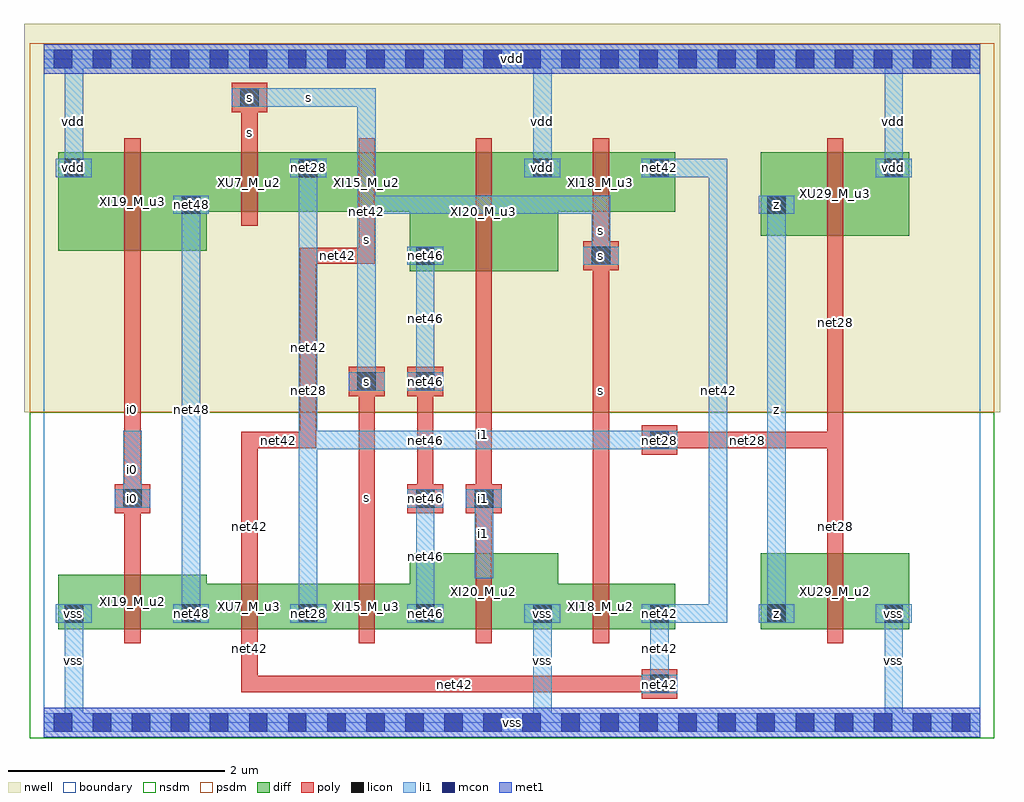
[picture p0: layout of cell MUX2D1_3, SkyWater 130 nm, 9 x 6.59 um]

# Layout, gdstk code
import gdstk
lib = gdstk.Library(unit=1e-6, precision=1e-09)
def R(c, l, rs):  # rectangles x0, y0, x1, y1
    for r in rs: c.add(gdstk.rectangle(r[:2], r[2:], *l))
def A(c, l, x, y, w, h, nx, ny, dx, dy):  # array of equal rectangles
    R(c, l, [(x+i*dx, y+j*dy, x+i*dx+w, y+j*dy+h) for i in range(nx) for j in range(ny)])
L0_0 = (0, 0)
nwell = (64, 20)
diff = (65, 20)
poly = (66, 20)
licon = (66, 44)
li1 = (67, 20)
mcon = (67, 44)
met1 = (68, 20)
nsdm = (93, 44)
psdm = (94, 20)
boundary = (235, 4)

mux2d1_3 = lib.new_cell('MUX2D1_3')
R(mux2d1_3, nwell, [(-0.18,2.86,8.82,6.445)])
A(mux2d1_3, diff, 0.135, 0.86, 0.29, 0.29, 8, 1, 1.08, 0)
A(mux2d1_3, diff, 0.135, 4.97, 0.29, 0.29, 3, 1, 2.16, 0)
R(mux2d1_3, diff, [(0.135,0.86,1.505,1.365), (1.215,0.86,2.585,1.28), (2.295,0.86,3.665,1.28), (3.375,0.86,4.745,1.56), (4.455,0.86,5.825,1.28), (6.615,0.86,7.985,1.56), (3.375,4.16,4.745,5.26), (3.375,4.16,3.665,4.45), (0.135,4.35,1.505,5.26), (6.615,4.49,7.985,5.26), (1.215,4.63,1.505,4.92), (6.615,4.63,6.905,4.92), (1.215,4.71,2.585,5.26), (2.295,4.71,3.665,5.26), (4.455,4.71,5.825,5.26), (5.535,4.97,5.825,5.26), (7.695,4.97,7.985,5.26)])
R(mux2d1_3, poly, [(5.515,0.22,5.845,0.49), (1.825,0.28,1.975,1.08), (1.825,0.28,5.755,0.43), (0.745,0.73,0.895,1.495), (1.825,0.73,1.975,1.41), (2.905,0.73,3.055,1.41), (3.985,0.73,4.135,1.69), (5.065,0.73,5.215,1.41), (7.225,0.73,7.375,1.69), (0.745,0.93,0.895,4.85), (1.825,0.93,1.975,2.68), (2.905,0.93,3.055,3.22), (3.985,0.93,4.135,4.38), (5.065,0.93,5.215,5.19), (7.225,0.93,7.375,2.68), (0.655,1.93,0.985,2.2), (3.355,1.93,3.685,2.2), (3.895,1.93,4.225,2.2), (3.445,1.99,3.595,3.22), (5.515,2.47,5.845,2.74), (1.825,2.53,2.515,2.68), (2.365,2.53,2.515,4.38), (5.605,2.53,7.375,2.68), (7.225,2.53,7.375,4.85), (2.815,3.01,3.145,3.28), (3.355,3.01,3.685,3.28), (3.985,4.03,4.135,5.39), (4.975,4.17,5.305,4.44), (0.745,4.22,0.895,5.39), (2.365,4.23,3.055,4.38), (2.905,4.23,3.055,5.19), (7.225,4.36,7.375,5.39), (1.825,4.58,1.975,5.39), (2.905,4.58,3.055,5.39), (5.065,4.58,5.215,5.39), (1.825,5.04,1.975,5.84), (1.735,5.63,2.065,5.9)])
A(mux2d1_3, licon, 0.195, 0.92, 0.17, 0.17, 8, 1, 1.08, 0)
A(mux2d1_3, licon, 0.195, 5.03, 0.17, 0.17, 3, 1, 2.16, 0)
R(mux2d1_3, licon, [(5.595,0.27,5.765,0.44), (0.735,1.98,0.905,2.15), (3.435,1.98,3.605,2.15), (3.975,1.98,4.145,2.15), (5.595,2.52,5.765,2.69), (2.895,3.06,3.065,3.23), (3.435,3.06,3.605,3.23), (3.435,4.22,3.605,4.39), (5.055,4.22,5.225,4.39), (1.275,4.69,1.445,4.86), (6.675,4.69,6.845,4.86), (5.595,5.03,5.765,5.2), (7.755,5.03,7.925,5.2), (1.815,5.68,1.985,5.85)])
A(mux2d1_3, li1, 0.115, 0.92, 0.33, 0.17, 8, 1, 1.08, 0)
A(mux2d1_3, li1, 0.115, 5.03, 0.33, 0.17, 3, 1, 2.16, 0)
R(mux2d1_3, li1, [(0,-0.085,8.64,0.085), (0.195,0.06,0.365,1.09), (4.515,0.06,4.685,1.09), (7.755,0.06,7.925,1.09), (5.515,0.27,5.845,0.44), (5.595,0.27,5.765,1.09), (1.275,0.92,1.445,4.86), (2.355,0.92,2.525,5.2), (3.435,0.92,3.605,2.15), (5.595,0.92,6.305,1.09), (6.135,0.92,6.305,5.2), (6.675,0.92,6.845,4.86), (3.975,1.33,4.145,2.15), (0.655,1.98,0.985,2.15), (0.735,1.98,0.905,2.69), (3.355,1.98,3.685,2.15), (3.895,1.98,4.225,2.15), (2.355,2.52,5.765,2.69), (5.515,2.52,5.845,2.69), (2.815,3.06,3.145,3.23), (2.895,3.06,3.065,5.85), (3.355,3.06,3.685,3.23), (3.435,3.06,3.605,4.39), (3.355,4.22,3.685,4.39), (4.975,4.22,5.305,4.39), (5.055,4.22,5.225,4.86), (1.195,4.69,1.525,4.86), (2.895,4.69,5.225,4.86), (6.595,4.69,6.925,4.86), (0.195,5.03,0.365,6.06), (4.515,5.03,4.685,6.06), (5.515,5.03,5.845,5.2), (5.595,5.03,6.305,5.2), (7.675,5.03,8.005,5.2), (7.755,5.03,7.925,6.06), (1.735,5.68,2.065,5.85), (1.815,5.68,3.065,5.85), (0,6.035,8.64,6.205)])
A(mux2d1_3, mcon, 0.095, -0.085, 0.17, 0.17, 24, 2, 0.36, 6.12)
R(mux2d1_3, met1, [(0,-0.135,8.64,0.135), (0,5.985,8.64,6.255)])
R(mux2d1_3, nsdm, [(-0.125,-0.145,8.765,0.145), (-0.125,0.145,8.765,2.86)])
R(mux2d1_3, psdm, [(-0.125,2.86,8.765,5.975), (-0.125,5.975,8.765,6.265)])
R(mux2d1_3, boundary, [(0,0,8.64,6.12)])
mux2d1_3.add(gdstk.FlexPath([(0.115,0.355),(8.005,0.355)], 0, ends="flush", simple_path=True, layer=0, datatype=0))  # L0_0
mux2d1_3.add(gdstk.FlexPath([(0.115,1.005),(8.005,1.005)], 0, ends="flush", simple_path=True, layer=0, datatype=0))  # L0_0
mux2d1_3.add(gdstk.FlexPath([(0.115,1.415),(8.005,1.415)], 0, ends="flush", simple_path=True, layer=0, datatype=0))  # L0_0
mux2d1_3.add(gdstk.FlexPath([(0.115,2.065),(8.005,2.065)], 0, ends="flush", simple_path=True, layer=0, datatype=0))  # L0_0
mux2d1_3.add(gdstk.FlexPath([(0.115,2.605),(8.005,2.605)], 0, ends="flush", simple_path=True, layer=0, datatype=0))  # L0_0
mux2d1_3.add(gdstk.FlexPath([(0.115,3.145),(8.005,3.145)], 0, ends="flush", simple_path=True, layer=0, datatype=0))  # L0_0
mux2d1_3.add(gdstk.FlexPath([(0.115,4.305),(8.005,4.305)], 0, ends="flush", simple_path=True, layer=0, datatype=0))  # L0_0
mux2d1_3.add(gdstk.FlexPath([(0.115,4.775),(8.005,4.775)], 0, ends="flush", simple_path=True, layer=0, datatype=0))  # L0_0
mux2d1_3.add(gdstk.FlexPath([(0.115,5.115),(8.005,5.115)], 0, ends="flush", simple_path=True, layer=0, datatype=0))  # L0_0
mux2d1_3.add(gdstk.FlexPath([(0.115,5.765),(8.005,5.765)], 0, ends="flush", simple_path=True, layer=0, datatype=0))  # L0_0
mux2d1_3.add(gdstk.FlexPath([(0.28,0.06),(0.28,6.06)], 0, ends="flush", simple_path=True, layer=0, datatype=0))  # L0_0
mux2d1_3.add(gdstk.FlexPath([(0.82,0.06),(0.82,6.06)], 0, ends="flush", simple_path=True, layer=0, datatype=0))  # L0_0
mux2d1_3.add(gdstk.FlexPath([(1.36,0.06),(1.36,6.06)], 0, ends="flush", simple_path=True, layer=0, datatype=0))  # L0_0
mux2d1_3.add(gdstk.FlexPath([(1.9,0.06),(1.9,6.06)], 0, ends="flush", simple_path=True, layer=0, datatype=0))  # L0_0
mux2d1_3.add(gdstk.FlexPath([(2.44,0.06),(2.44,6.06)], 0, ends="flush", simple_path=True, layer=0, datatype=0))  # L0_0
mux2d1_3.add(gdstk.FlexPath([(2.98,0.06),(2.98,6.06)], 0, ends="flush", simple_path=True, layer=0, datatype=0))  # L0_0
mux2d1_3.add(gdstk.FlexPath([(3.52,0.06),(3.52,6.06)], 0, ends="flush", simple_path=True, layer=0, datatype=0))  # L0_0
mux2d1_3.add(gdstk.FlexPath([(4.06,0.06),(4.06,6.06)], 0, ends="flush", simple_path=True, layer=0, datatype=0))  # L0_0
mux2d1_3.add(gdstk.FlexPath([(4.6,0.06),(4.6,6.06)], 0, ends="flush", simple_path=True, layer=0, datatype=0))  # L0_0
mux2d1_3.add(gdstk.FlexPath([(5.14,0.06),(5.14,6.06)], 0, ends="flush", simple_path=True, layer=0, datatype=0))  # L0_0
mux2d1_3.add(gdstk.FlexPath([(5.68,0.06),(5.68,6.06)], 0, ends="flush", simple_path=True, layer=0, datatype=0))  # L0_0
mux2d1_3.add(gdstk.FlexPath([(6.22,0.06),(6.22,6.06)], 0, ends="flush", simple_path=True, layer=0, datatype=0))  # L0_0
mux2d1_3.add(gdstk.FlexPath([(6.76,0.06),(6.76,6.06)], 0, ends="flush", simple_path=True, layer=0, datatype=0))  # L0_0
mux2d1_3.add(gdstk.FlexPath([(7.3,0.06),(7.3,6.06)], 0, ends="flush", simple_path=True, layer=0, datatype=0))  # L0_0
mux2d1_3.add(gdstk.FlexPath([(7.84,0.06),(7.84,6.06)], 0, ends="flush", simple_path=True, layer=0, datatype=0))  # L0_0
mux2d1_3.add(gdstk.Label('XI15_M_u3', (2.98,1.07), layer=65, texttype=20))
mux2d1_3.add(gdstk.Label('XU7_M_u3', (1.9,1.07), layer=65, texttype=20))
mux2d1_3.add(gdstk.Label('XI20_M_u2', (4.06,1.21), layer=65, texttype=20))
mux2d1_3.add(gdstk.Label('XI19_M_u2', (0.82,1.113), layer=65, texttype=20))
mux2d1_3.add(gdstk.Label('XI18_M_u2', (5.14,1.07), layer=65, texttype=20))
mux2d1_3.add(gdstk.Label('XU29_M_u2', (7.3,1.21), layer=65, texttype=20))
mux2d1_3.add(gdstk.Label('XI15_M_u2', (2.98,4.985), layer=65, texttype=20))
mux2d1_3.add(gdstk.Label('XU7_M_u2', (1.9,4.985), layer=65, texttype=20))
mux2d1_3.add(gdstk.Label('XI20_M_u3', (4.06,4.71), layer=65, texttype=20))
mux2d1_3.add(gdstk.Label('XI19_M_u3', (0.82,4.805), layer=65, texttype=20))
mux2d1_3.add(gdstk.Label('XI18_M_u3', (5.14,4.985), layer=65, texttype=20))
mux2d1_3.add(gdstk.Label('XU29_M_u3', (7.3,4.875), layer=65, texttype=20))
mux2d1_3.add(gdstk.Label('net46', (3.52,1.005), layer=65, texttype=20))
mux2d1_3.add(gdstk.Label('net46', (3.52,4.305), layer=65, texttype=20))
mux2d1_3.add(gdstk.Label('net28', (2.44,1.005), layer=65, texttype=20))
mux2d1_3.add(gdstk.Label('net28', (2.44,5.115), layer=65, texttype=20))
mux2d1_3.add(gdstk.Label('net48', (1.36,1.005), layer=65, texttype=20))
mux2d1_3.add(gdstk.Label('net48', (1.36,4.775), layer=65, texttype=20))
mux2d1_3.add(gdstk.Label('net42', (5.68,1.005), layer=65, texttype=20))
mux2d1_3.add(gdstk.Label('net42', (5.68,5.115), layer=65, texttype=20))
mux2d1_3.add(gdstk.Label('z', (6.76,1.005), layer=65, texttype=20))
mux2d1_3.add(gdstk.Label('z', (6.76,4.775), layer=65, texttype=20))
mux2d1_3.add(gdstk.Label('vss', (4.6,1.005), layer=65, texttype=20))
mux2d1_3.add(gdstk.Label('vss', (0.28,1.005), layer=65, texttype=20))
mux2d1_3.add(gdstk.Label('vss', (7.84,1.005), layer=65, texttype=20))
mux2d1_3.add(gdstk.Label('vdd', (4.6,5.115), layer=65, texttype=20))
mux2d1_3.add(gdstk.Label('vdd', (0.28,5.115), layer=65, texttype=20))
mux2d1_3.add(gdstk.Label('vdd', (7.84,5.115), layer=65, texttype=20))
mux2d1_3.add(gdstk.Label('net46', (3.52,2.065), layer=66, texttype=20))
mux2d1_3.add(gdstk.Label('net46', (3.52,2.605), layer=66, texttype=20))
mux2d1_3.add(gdstk.Label('net46', (3.52,3.145), layer=66, texttype=20))
mux2d1_3.add(gdstk.Label('s', (2.98,2.075), layer=66, texttype=20))
mux2d1_3.add(gdstk.Label('s', (2.98,3.145), layer=66, texttype=20))
mux2d1_3.add(gdstk.Label('s', (1.9,5.765), layer=66, texttype=20))
mux2d1_3.add(gdstk.Label('s', (1.9,5.44), layer=66, texttype=20))
mux2d1_3.add(gdstk.Label('s', (5.14,3.06), layer=66, texttype=20))
mux2d1_3.add(gdstk.Label('s', (5.14,4.305), layer=66, texttype=20))
mux2d1_3.add(gdstk.Label('net28', (5.68,2.605), layer=66, texttype=20))
mux2d1_3.add(gdstk.Label('net28', (6.49,2.605), layer=66, texttype=20))
mux2d1_3.add(gdstk.Label('net28', (7.3,3.69), layer=66, texttype=20))
mux2d1_3.add(gdstk.Label('net28', (7.3,1.805), layer=66, texttype=20))
mux2d1_3.add(gdstk.Label('net42', (1.9,0.68), layer=66, texttype=20))
mux2d1_3.add(gdstk.Label('net42', (3.79,0.355), layer=66, texttype=20))
mux2d1_3.add(gdstk.Label('net42', (5.68,0.355), layer=66, texttype=20))
mux2d1_3.add(gdstk.Label('net42', (1.9,1.805), layer=66, texttype=20))
mux2d1_3.add(gdstk.Label('net42', (2.17,2.605), layer=66, texttype=20))
mux2d1_3.add(gdstk.Label('net42', (2.44,3.455), layer=66, texttype=20))
mux2d1_3.add(gdstk.Label('net42', (2.71,4.305), layer=66, texttype=20))
mux2d1_3.add(gdstk.Label('net42', (2.98,4.71), layer=66, texttype=20))
mux2d1_3.add(gdstk.Label('i1', (4.06,2.655), layer=66, texttype=20))
mux2d1_3.add(gdstk.Label('i1', (4.06,2.065), layer=66, texttype=20))
mux2d1_3.add(gdstk.Label('i0', (0.82,2.89), layer=66, texttype=20))
mux2d1_3.add(gdstk.Label('i0', (0.82,2.065), layer=66, texttype=20))
mux2d1_3.add(gdstk.Label('net46', (3.52,1.005), layer=66, texttype=44))
mux2d1_3.add(gdstk.Label('net46', (3.52,4.305), layer=66, texttype=44))
mux2d1_3.add(gdstk.Label('net46', (3.52,2.065), layer=66, texttype=44))
mux2d1_3.add(gdstk.Label('net46', (3.52,3.145), layer=66, texttype=44))
mux2d1_3.add(gdstk.Label('s', (2.98,3.145), layer=66, texttype=44))
mux2d1_3.add(gdstk.Label('s', (1.9,5.765), layer=66, texttype=44))
mux2d1_3.add(gdstk.Label('s', (5.14,4.305), layer=66, texttype=44))
mux2d1_3.add(gdstk.Label('net28', (2.44,1.005), layer=66, texttype=44))
mux2d1_3.add(gdstk.Label('net28', (2.44,5.115), layer=66, texttype=44))
mux2d1_3.add(gdstk.Label('net28', (5.68,2.605), layer=66, texttype=44))
mux2d1_3.add(gdstk.Label('net48', (1.36,1.005), layer=66, texttype=44))
mux2d1_3.add(gdstk.Label('net48', (1.36,4.775), layer=66, texttype=44))
mux2d1_3.add(gdstk.Label('net42', (5.68,1.005), layer=66, texttype=44))
mux2d1_3.add(gdstk.Label('net42', (5.68,5.115), layer=66, texttype=44))
mux2d1_3.add(gdstk.Label('net42', (5.68,0.355), layer=66, texttype=44))
mux2d1_3.add(gdstk.Label('i1', (4.06,2.065), layer=66, texttype=44))
mux2d1_3.add(gdstk.Label('i0', (0.82,2.065), layer=66, texttype=44))
mux2d1_3.add(gdstk.Label('z', (6.76,1.005), layer=66, texttype=44))
mux2d1_3.add(gdstk.Label('z', (6.76,4.775), layer=66, texttype=44))
mux2d1_3.add(gdstk.Label('vss', (4.6,1.005), layer=66, texttype=44))
mux2d1_3.add(gdstk.Label('vss', (0.28,1.005), layer=66, texttype=44))
mux2d1_3.add(gdstk.Label('vss', (7.84,1.005), layer=66, texttype=44))
mux2d1_3.add(gdstk.Label('vdd', (4.6,5.115), layer=66, texttype=44))
mux2d1_3.add(gdstk.Label('vdd', (0.28,5.115), layer=66, texttype=44))
mux2d1_3.add(gdstk.Label('vdd', (7.84,5.115), layer=66, texttype=44))
mux2d1_3.add(gdstk.Label('net46', (3.52,1.005), layer=67, texttype=20))
mux2d1_3.add(gdstk.Label('net46', (3.52,4.305), layer=67, texttype=20))
mux2d1_3.add(gdstk.Label('net46', (3.52,1.535), layer=67, texttype=20))
mux2d1_3.add(gdstk.Label('net46', (3.52,2.065), layer=67, texttype=20))
mux2d1_3.add(gdstk.Label('net46', (3.52,3.145), layer=67, texttype=20))
mux2d1_3.add(gdstk.Label('net46', (3.52,3.725), layer=67, texttype=20))
mux2d1_3.add(gdstk.Label('s', (2.98,3.145), layer=67, texttype=16))
mux2d1_3.add(gdstk.Label('s', (2.98,4.455), layer=67, texttype=16))
mux2d1_3.add(gdstk.Label('s', (2.44,5.765), layer=67, texttype=16))
mux2d1_3.add(gdstk.Label('s', (1.9,5.765), layer=67, texttype=16))
mux2d1_3.add(gdstk.Label('s', (4.06,4.775), layer=67, texttype=16))
mux2d1_3.add(gdstk.Label('s', (5.14,4.54), layer=67, texttype=16))
mux2d1_3.add(gdstk.Label('s', (5.14,4.305), layer=67, texttype=16))
mux2d1_3.add(gdstk.Label('net28', (2.44,1.005), layer=67, texttype=20))
mux2d1_3.add(gdstk.Label('net28', (2.44,5.115), layer=67, texttype=20))
mux2d1_3.add(gdstk.Label('net28', (2.44,3.06), layer=67, texttype=20))
mux2d1_3.add(gdstk.Label('net28', (4.06,2.605), layer=67, texttype=20))
mux2d1_3.add(gdstk.Label('net28', (5.68,2.605), layer=67, texttype=20))
mux2d1_3.add(gdstk.Label('net48', (1.36,1.005), layer=67, texttype=20))
mux2d1_3.add(gdstk.Label('net48', (1.36,4.775), layer=67, texttype=20))
mux2d1_3.add(gdstk.Label('net48', (1.36,2.89), layer=67, texttype=20))
mux2d1_3.add(gdstk.Label('net42', (5.68,1.005), layer=67, texttype=20))
mux2d1_3.add(gdstk.Label('net42', (5.68,5.115), layer=67, texttype=20))
mux2d1_3.add(gdstk.Label('net42', (5.68,0.355), layer=67, texttype=20))
mux2d1_3.add(gdstk.Label('net42', (5.68,0.68), layer=67, texttype=20))
mux2d1_3.add(gdstk.Label('net42', (5.95,1.005), layer=67, texttype=20))
mux2d1_3.add(gdstk.Label('net42', (6.22,3.06), layer=67, texttype=20))
mux2d1_3.add(gdstk.Label('net42', (5.95,5.115), layer=67, texttype=20))
mux2d1_3.add(gdstk.Label('i1', (4.06,2.065), layer=67, texttype=16))
mux2d1_3.add(gdstk.Label('i1', (4.06,1.74), layer=67, texttype=16))
mux2d1_3.add(gdstk.Label('i0', (0.82,2.065), layer=67, texttype=16))
mux2d1_3.add(gdstk.Label('i0', (0.82,2.335), layer=67, texttype=16))
mux2d1_3.add(gdstk.Label('z', (6.76,1.005), layer=67, texttype=16))
mux2d1_3.add(gdstk.Label('z', (6.76,4.775), layer=67, texttype=16))
mux2d1_3.add(gdstk.Label('z', (6.76,2.89), layer=67, texttype=16))
mux2d1_3.add(gdstk.Label('vss', (4.6,1.005), layer=67, texttype=20))
mux2d1_3.add(gdstk.Label('vss', (4.6,0.575), layer=67, texttype=20))
mux2d1_3.add(gdstk.Label('vss', (0.28,1.005), layer=67, texttype=20))
mux2d1_3.add(gdstk.Label('vss', (0.28,0.575), layer=67, texttype=20))
mux2d1_3.add(gdstk.Label('vss', (7.84,1.005), layer=67, texttype=20))
mux2d1_3.add(gdstk.Label('vss', (7.84,0.575), layer=67, texttype=20))
mux2d1_3.add(gdstk.Label('vdd', (4.6,5.115), layer=67, texttype=20))
mux2d1_3.add(gdstk.Label('vdd', (4.6,5.545), layer=67, texttype=20))
mux2d1_3.add(gdstk.Label('vdd', (0.28,5.115), layer=67, texttype=20))
mux2d1_3.add(gdstk.Label('vdd', (0.28,5.545), layer=67, texttype=20))
mux2d1_3.add(gdstk.Label('vdd', (7.84,5.115), layer=67, texttype=20))
mux2d1_3.add(gdstk.Label('vdd', (7.84,5.545), layer=67, texttype=20))
mux2d1_3.add(gdstk.Label('vss', (4.32,0), layer=67, texttype=16))
mux2d1_3.add(gdstk.Label('vdd', (4.32,6.12), layer=67, texttype=16))
mux2d1_3.add(gdstk.Label('vss', (4.32,0), layer=68, texttype=16))
mux2d1_3.add(gdstk.Label('vdd', (4.32,6.12), layer=68, texttype=16))

lib.write_gds('MUX2D1_3.gds')
